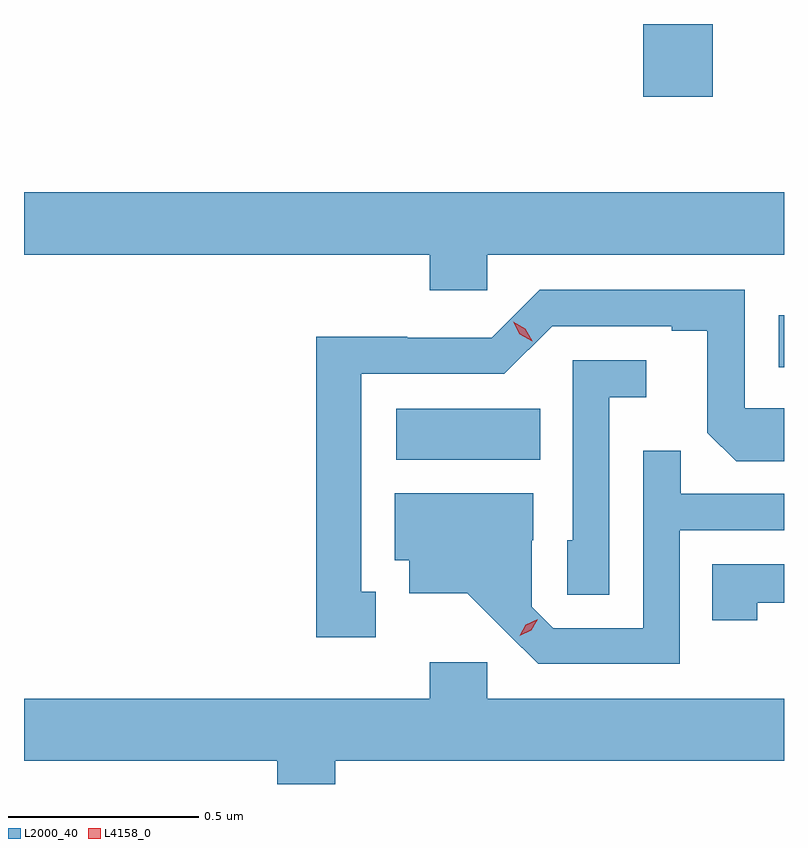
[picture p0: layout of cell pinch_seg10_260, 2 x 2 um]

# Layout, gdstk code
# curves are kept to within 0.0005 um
import gdstk
lib = gdstk.Library(unit=1e-6, precision=1e-09)
def R(c, l, rs):  # rectangles x0, y0, x1, y1
    for r in rs: c.add(gdstk.rectangle(r[:2], r[2:], *l))
def P(c, l, *ps):  # polygons
    for p in ps: c.add(gdstk.Polygon(p, *l))
L2000_40 = (2000, 40)
L4158_0 = (4158, 0)

pinch_seg10_260 = lib.new_cell('pinch_seg10_260')
R(pinch_seg10_260, L2000_40, [(591.81,1303.772,592.19,1303.906), (592.817,1304.016,592.831,1304.152), (592.46,1304.727,592.643,1304.919)])
P(pinch_seg10_260, L2000_40, [(592.05,1304.312),(592.831,1304.312),(592.831,1304.476),(590.831,1304.476),(590.831,1304.312),(591.899,1304.312),(591.899,1304.219),(592.05,1304.219)],
  [(591.757,1303.425),(591.718,1303.425),(591.718,1303.998),(592.095,1303.998),(592.221,1304.124),(592.535,1304.124),(592.535,1304.112),(592.629,1304.112),(592.629,1303.844),(592.705,1303.768),(592.831,1303.768),(592.831,1303.908),(592.728,1303.908),(592.728,1304.22),(592.188,1304.22),(592.062,1304.094),(591.84,1304.094),(591.84,1304.096),(591.6,1304.096),(591.6,1303.305),(591.757,1303.305)],
  [(592.371,1303.937),(592.468,1303.937),(592.468,1304.034),(592.275,1304.034),(592.275,1303.56),(592.26,1303.56),(592.26,1303.417),(592.371,1303.417)],
  [(592.557,1303.587),(592.831,1303.587),(592.831,1303.683),(592.559,1303.683),(592.559,1303.796),(592.461,1303.796),(592.461,1303.329),(592.224,1303.329),(592.167,1303.386),(592.167,1303.56),(592.171,1303.56),(592.171,1303.684),(591.806,1303.684),(591.806,1303.508),(591.845,1303.508),(591.845,1303.421),(591.997,1303.421),(592.184,1303.236),(592.557,1303.236)],
  [(592.761,1303.396),(592.831,1303.396),(592.831,1303.497),(592.642,1303.497),(592.642,1303.35),(592.761,1303.35)],
  [(591.65,1302.98),(592.831,1302.98),(592.831,1303.144),(592.05,1303.144),(592.05,1303.24),(591.899,1303.24),(591.899,1303.144),(590.831,1303.144),(590.831,1302.98),(591.498,1302.98),(591.498,1302.919),(591.65,1302.919)])
P(pinch_seg10_260, L4158_0, [(592.135,1303.309),(592.135,1303.309),(592.152,1303.338),(592.183,1303.353),(592.183,1303.353),(592.183,1303.353),(592.166,1303.323),(592.135,1303.309)],
  [(592.168,1304.084),(592.136,1304.103),(592.118,1304.135),(592.118,1304.136),(592.118,1304.136),(592.15,1304.117),(592.168,1304.085),(592.168,1304.084)])

lib.write_gds('pinch_seg10_260.gds')
